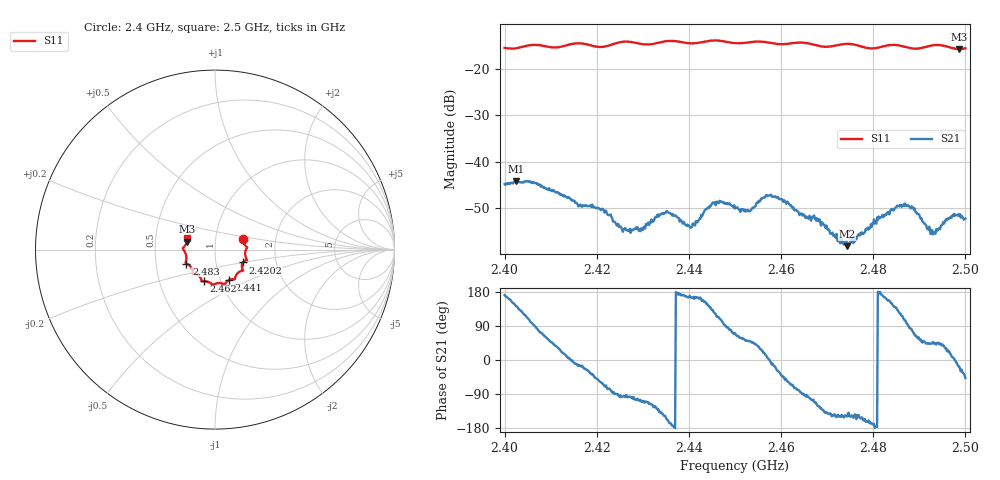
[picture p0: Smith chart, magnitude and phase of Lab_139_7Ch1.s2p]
# Hz S RI R 50
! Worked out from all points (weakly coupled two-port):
!   601 points, 2.4 GHz to 2.5 GHz, reference 50 ohm
!   highest |S21| = -44.15 dB at 2.4025 GHz (marker M1); lowest = -58.1 dB at 2.4743 GHz (marker M2)
!   lowest |S11| = -15.8 dB at 2.4987 GHz (marker M3), VSWR 1.39, Z = 36.4 + j3.27 ohm
!   |S11| at or under -10 dB: start of sweep to end of sweep
!   S12 and S22 are empty: the file has one direction only
!   S11 on the Smith chart (normalised r, x): 2.4 GHz: 1.36, +0.17; 2.4202 GHz: 1.35, -0.20; 2.441 GHz: 1.09, -0.39; 2.462 GHz: 0.83, -0.30; 2.483 GHz: 0.72, -0.12; 2.5 GHz: 0.73, +0.09
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2.4e9  0.1561 0.0602  -0.0057 0.000883  0 0  0 0
2.4025e9  0.163 0.0311  -0.00487 0.00385  0 0  0 0
2.406833e9  0.1798 0.012  0.000471 0.00585  0 0  0 0
2.416667e9  0.1776 -0.0584  0.00317 -0.00097  0 0  0 0
2.420167e9  0.1561 -0.0718  0.00202 -0.0025  0 0  0 0
2.426833e9  0.1564 -0.1168  -0.000227 -0.0018  0 0  0 0
2.433333e9  0.113 -0.1524  -0.00161 -0.002  0 0  0 0
2.4355e9  0.1112 -0.1643  -0.0027 -0.00101  0 0  0 0
2.441e9  0.0768 -0.1707  -0.0021 0.000503  0 0  0 0
2.445167e9  0.0537 -0.1932  -0.00245 0.00271  0 0  0 0
2.45e9  0.0268 -0.1862  0.00103 0.00297  0 0  0 0
2.453e9  -0.00024 -0.1918  0.00189 0.00226  0 0  0 0
2.457333e9  -0.0203 -0.1896  0.00434 9.89e-05  0 0  0 0
2.462e9  -0.0618 -0.1761  0.00147 -0.00304  0 0  0 0
2.466667e9  -0.0766 -0.1667  -0.00068 -0.00242  0 0  0 0
2.474333e9  -0.1249 -0.1361  -0.00106 -0.00064  0 0  0 0
2.483e9  -0.1594 -0.078  -0.00266 0.001  0 0  0 0
2.483333e9  -0.1611 -0.0773  -0.00267 0.00114  0 0  0 0
2.488e9  -0.1594 -0.0479  0.000305 0.0032  0 0  0 0
2.493e9  -0.1786 0.00312  0.00112 0.00123  0 0  0 0
2.498667e9  -0.1561 0.0438  0.0025 -0.000774  0 0  0 0
2.5e9  -0.1533 0.0626  0.00166 -0.00181  0 0  0 0
